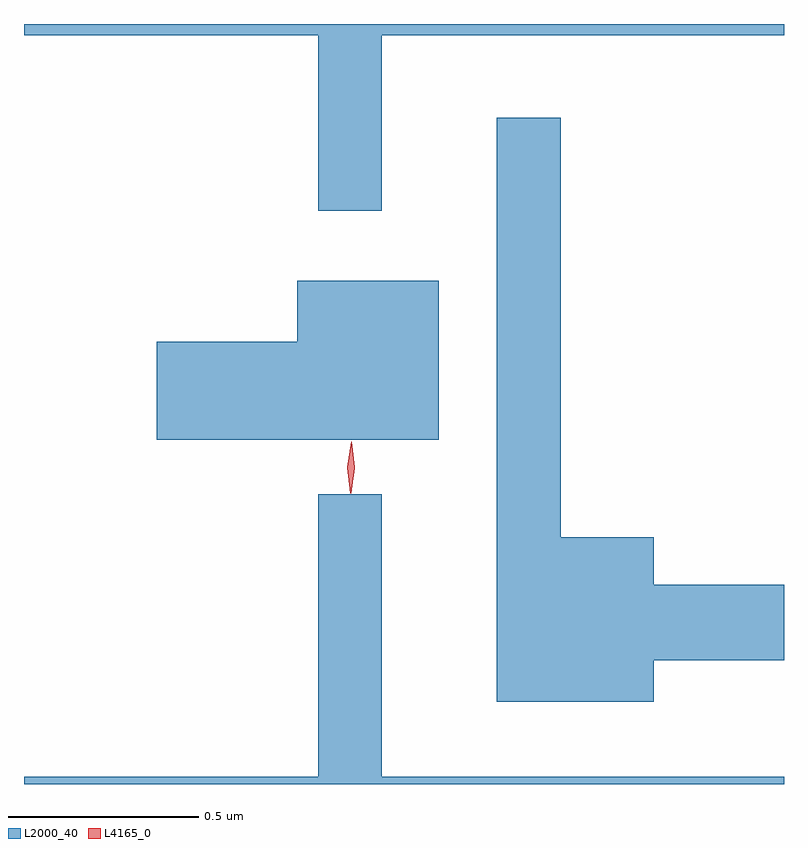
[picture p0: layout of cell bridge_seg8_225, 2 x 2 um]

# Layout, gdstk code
import gdstk
lib = gdstk.Library(unit=1e-6, precision=1e-09)
def P(c, l, *ps):  # polygons
    for p in ps: c.add(gdstk.Polygon(p, *l))
L2000_40 = (2000, 40)
L4165_0 = (4165, 0)

bridge_seg8_225 = lib.new_cell('bridge_seg8_225')
P(bridge_seg8_225, L2000_40, [(1100.929,1907.456),(1101.987,1907.456),(1101.987,1907.485),(1099.987,1907.485),(1099.987,1907.456),(1100.761,1907.456),(1100.761,1906.993),(1100.929,1906.993)],
  [(1101.644,1905.811),(1101.987,1905.811),(1101.987,1906.009),(1101.644,1906.009),(1101.644,1906.134),(1101.399,1906.134),(1101.399,1907.238),(1101.231,1907.238),(1101.231,1905.701),(1101.644,1905.701)],
  [(1101.079,1906.809),(1100.706,1906.809),(1100.706,1906.649),(1100.336,1906.649),(1100.336,1906.391),(1101.079,1906.391)],
  [(1101.987,1905.504),(1100.929,1905.504),(1100.929,1906.248),(1100.761,1906.248),(1100.761,1905.504),(1099.987,1905.504),(1099.987,1905.485),(1101.987,1905.485)])
P(bridge_seg8_225, L4165_0, [(1100.846,1906.253),(1100.838,1906.316),(1100.848,1906.379),(1100.849,1906.38),(1100.85,1906.379),(1100.858,1906.316),(1100.848,1906.253),(1100.847,1906.253)],
  [(1100.846,1906.25),(1100.838,1906.318),(1100.848,1906.386),(1100.848,1906.386),(1100.849,1906.386),(1100.858,1906.318),(1100.848,1906.25),(1100.847,1906.25)])

lib.write_gds('bridge_seg8_225.gds')
